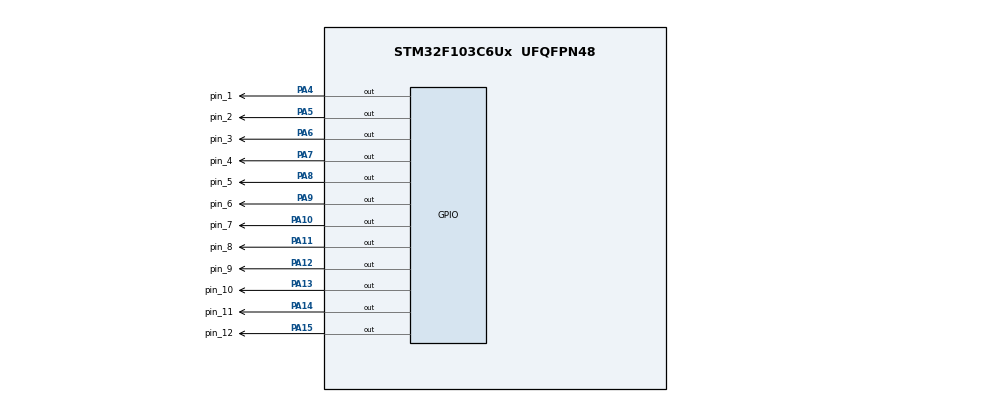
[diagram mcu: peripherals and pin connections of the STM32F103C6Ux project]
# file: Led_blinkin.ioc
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Mcu.Family=STM32F1
Mcu.Name=STM32F103C6Ux
Mcu.Package=UFQFPN48
NVIC.PriorityGroup=NVIC_PRIORITYGROUP_4
PA10.GPIO_Label=pin_7
PA10.Signal=GPIO_Output
PA11.GPIO_Label=pin_8
PA11.Signal=GPIO_Output
PA12.GPIO_Label=pin_9
PA12.Signal=GPIO_Output
PA13.GPIO_Label=pin_10
PA13.Signal=GPIO_Output
PA14.GPIO_Label=pin_11
PA14.Signal=GPIO_Output
PA15.GPIO_Label=pin_12
PA15.Signal=GPIO_Output
PA4.GPIO_Label=pin_1
PA4.Signal=GPIO_Output
PA5.GPIO_Label=pin_2
PA5.Signal=GPIO_Output
PA6.GPIO_Label=pin_3
PA6.Signal=GPIO_Output
PA7.GPIO_Label=pin_4
PA7.Signal=GPIO_Output
PA8.GPIO_Label=pin_5
PA8.Signal=GPIO_Output
PA9.GPIO_Label=pin_6
PA9.Signal=GPIO_Output
ProjectManager.HeapSize=0x200
ProjectManager.StackSize=0x400
ProjectManager.TargetToolchain=STM32CubeIDE
RCC.APB1Freq_Value=8000000
RCC.APB2Freq_Value=8000000
VP_SYS_VS_ND.Mode=No_Debug
board=custom

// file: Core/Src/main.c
/* USER CODE BEGIN Header */
/**
  ******************************************************************************
  * @file           : main.c
  * @brief          : Main program body
  ******************************************************************************
  * @attention
  *
  * <h2><center>&copy; Copyright (c) 2022 STMicroelectronics.
  * All rights reserved.</center></h2>
  *
  * This software component is licensed by ST under BSD 3-Clause license,
  * the "License"; You may not use this file except in compliance with the
  * License. You may obtain a copy of the License at:
  *                        opensource.org/licenses/BSD-3-Clause
  *
  ******************************************************************************
  */
/* USER CODE END Header */
#include "main.h"

void SystemClock_Config(void);
static void MX_GPIO_Init(void);

/* USER CODE BEGIN 0 */
void clearAllClock()
{
	HAL_GPIO_WritePin(pin_1_GPIO_Port, pin_1_Pin, GPIO_PIN_SET);
    HAL_GPIO_WritePin(pin_2_GPIO_Port, pin_2_Pin, GPIO_PIN_SET);
	HAL_GPIO_WritePin(pin_3_GPIO_Port, pin_3_Pin, GPIO_PIN_SET);
	HAL_GPIO_WritePin(pin_4_GPIO_Port, pin_4_Pin, GPIO_PIN_SET);
	HAL_GPIO_WritePin(pin_5_GPIO_Port, pin_5_Pin, GPIO_PIN_SET);
	HAL_GPIO_WritePin(pin_6_GPIO_Port, pin_6_Pin, GPIO_PIN_SET);
	HAL_GPIO_WritePin(pin_7_GPIO_Port, pin_7_Pin, GPIO_PIN_SET);
	HAL_GPIO_WritePin(pin_8_GPIO_Port, pin_8_Pin, GPIO_PIN_SET);
	HAL_GPIO_WritePin(pin_9_GPIO_Port, pin_9_Pin, GPIO_PIN_SET);
	HAL_GPIO_WritePin(pin_10_GPIO_Port, pin_10_Pin, GPIO_PIN_SET);
	HAL_GPIO_WritePin(pin_11_GPIO_Port, pin_11_Pin, GPIO_PIN_SET);
	HAL_GPIO_WritePin(pin_12_GPIO_Port, pin_12_Pin, GPIO_PIN_SET);
}
void setNumberOnClock(int numb)
{
	if(numb == 0) HAL_GPIO_WritePin(pin_1_GPIO_Port, pin_1_Pin, GPIO_PIN_RESET);
	if(numb == 1) HAL_GPIO_WritePin(pin_2_GPIO_Port, pin_2_Pin, GPIO_PIN_RESET);
	if(numb == 2) HAL_GPIO_WritePin(pin_3_GPIO_Port, pin_3_Pin, GPIO_PIN_RESET);
	if(numb == 3)	HAL_GPIO_WritePin(pin_4_GPIO_Port, pin_4_Pin, GPIO_PIN_RESET);
	if(numb == 4)	HAL_GPIO_WritePin(pin_5_GPIO_Port, pin_5_Pin, GPIO_PIN_RESET);
	if(numb == 5)	HAL_GPIO_WritePin(pin_6_GPIO_Port, pin_6_Pin, GPIO_PIN_RESET);
	if(numb == 6)	HAL_GPIO_WritePin(pin_7_GPIO_Port, pin_7_Pin, GPIO_PIN_RESET);
	if(numb == 7)	HAL_GPIO_WritePin(pin_8_GPIO_Port, pin_8_Pin, GPIO_PIN_RESET);
	if(numb == 8)	HAL_GPIO_WritePin(pin_9_GPIO_Port, pin_9_Pin, GPIO_PIN_RESET);
	if(numb == 9)	HAL_GPIO_WritePin(pin_10_GPIO_Port, pin_10_Pin, GPIO_PIN_RESET);
	if(numb == 10)	HAL_GPIO_WritePin(pin_11_GPIO_Port, pin_11_Pin, GPIO_PIN_RESET);
	if(numb == 11)	HAL_GPIO_WritePin(pin_12_GPIO_Port, pin_12_Pin, GPIO_PIN_RESET);
}
void clearNumberOnClock(int numb)
{
	if(numb == 0) HAL_GPIO_WritePin(pin_1_GPIO_Port, pin_1_Pin, GPIO_PIN_SET);
	if(numb == 1) HAL_GPIO_WritePin(pin_2_GPIO_Port, pin_2_Pin, GPIO_PIN_SET);
	if(numb == 2) HAL_GPIO_WritePin(pin_3_GPIO_Port, pin_3_Pin, GPIO_PIN_SET);
	if(numb == 3)	HAL_GPIO_WritePin(pin_4_GPIO_Port, pin_4_Pin, GPIO_PIN_SET);
	if(numb == 4)	HAL_GPIO_WritePin(pin_5_GPIO_Port, pin_5_Pin, GPIO_PIN_SET);
	if(numb == 5)	HAL_GPIO_WritePin(pin_6_GPIO_Port, pin_6_Pin, GPIO_PIN_SET);
	if(numb == 6)	HAL_GPIO_WritePin(pin_7_GPIO_Port, pin_7_Pin, GPIO_PIN_SET);
	if(numb == 7)	HAL_GPIO_WritePin(pin_8_GPIO_Port, pin_8_Pin, GPIO_PIN_SET);
	if(numb == 8)	HAL_GPIO_WritePin(pin_9_GPIO_Port, pin_9_Pin, GPIO_PIN_SET);
	if(numb == 9)	HAL_GPIO_WritePin(pin_10_GPIO_Port, pin_10_Pin, GPIO_PIN_SET);
	if(numb == 10)	HAL_GPIO_WritePin(pin_11_GPIO_Port, pin_11_Pin, GPIO_PIN_SET);
	if(numb == 11)	HAL_GPIO_WritePin(pin_12_GPIO_Port, pin_12_Pin, GPIO_PIN_SET);
}
/* USER CODE END 0 */

int main(void)
{

  /* MCU Configuration--------------------------------------------------------*/

  /* Reset of all peripherals, Initializes the Flash interface and the Systick. */
  HAL_Init();

  /* Configure the system clock */
  SystemClock_Config();

  /* Initialize all configured peripherals */
  MX_GPIO_Init();

  /* Infinite loop */
  /* USER CODE BEGIN WHILE */
  int second = 0;
  int minute = 0;
  int hour = 0;
  int prev_second = 0;
  int prev_minute =0;
  int prev_hour = 0;
  while (1)
  {

	  if(second == 0 && minute == 0 && hour == 0)
	  {
	  		  clearAllClock();
	  		  setNumberOnClock(0);
	  }
	  else
	  {
		  	  if(second == 60)
		  	  {
		  		  second = 0;
		  		  prev_minute = minute;
		  		  prev_second = 59;
		  		  minute++;
		  	  }
		  	  if(minute == 60)
		  	  {
		  		  minute = 0;
		  		  prev_hour = hour;
		  		  prev_minute = 59;
		  		  hour++;
		  	  }
		  	  if(hour == 12)
		  	  {
		  		  prev_hour = 11;
		  		  hour = 0;
		  	  }
		  	  /* change the minute and hour if need */
		  	  if(prev_second != minute && prev_second != hour*5)
		  	  {
		  		   clearNumberOnClock(prev_second/5);
		  	  }
		  	  if(prev_minute != second && prev_minute != hour*5)
		  	  {
		  		  clearNumberOnClock(prev_minute/5);
		  	  }
		  	  if(prev_hour != second/5 && prev_hour != minute/5)
		  	  {
		  		  clearNumberOnClock(prev_hour);
		  	  }
		  	  setNumberOnClock(second/5);
		  	  setNumberOnClock(minute/5);
		  	  setNumberOnClock(hour);
	  }
	  prev_second = second;
	  second++;
	  HAL_Delay(1000);

    /* USER CODE END WHILE */

  }
}

void SystemClock_Config(void)
{
  RCC_OscInitTypeDef RCC_OscInitStruct = {0};
  RCC_ClkInitTypeDef RCC_ClkInitStruct = {0};

  /** Initializes the RCC Oscillators according to the specified parameters
  * in the RCC_OscInitTypeDef structure.
  */
  RCC_OscInitStruct.OscillatorType = RCC_OSCILLATORTYPE_HSI;
  RCC_OscInitStruct.HSIState = RCC_HSI_ON;
  RCC_OscInitStruct.HSICalibrationValue = RCC_HSICALIBRATION_DEFAULT;
  RCC_OscInitStruct.PLL.PLLState = RCC_PLL_NONE;
  if (HAL_RCC_OscConfig(&RCC_OscInitStruct) != HAL_OK)
  {
    Error_Handler();
  }
  /** Initializes the CPU, AHB and APB buses clocks
  */
  RCC_ClkInitStruct.ClockType = RCC_CLOCKTYPE_HCLK|RCC_CLOCKTYPE_SYSCLK
                              |RCC_CLOCKTYPE_PCLK1|RCC_CLOCKTYPE_PCLK2;
  RCC_ClkInitStruct.SYSCLKSource = RCC_SYSCLKSOURCE_HSI;
  RCC_ClkInitStruct.AHBCLKDivider = RCC_SYSCLK_DIV1;
  RCC_ClkInitStruct.APB1CLKDivider = RCC_HCLK_DIV1;
  RCC_ClkInitStruct.APB2CLKDivider = RCC_HCLK_DIV1;

  if (HAL_RCC_ClockConfig(&RCC_ClkInitStruct, FLASH_LATENCY_0) != HAL_OK)
  {
    Error_Handler();
  }
}

static void MX_GPIO_Init(void)
{
  GPIO_InitTypeDef GPIO_InitStruct = {0};

  /* GPIO Ports Clock Enable */
  __HAL_RCC_GPIOA_CLK_ENABLE();

  /*Configure GPIO pin Output Level */
  HAL_GPIO_WritePin(GPIOA, pin_1_Pin|pin_2_Pin|pin_3_Pin|pin_4_Pin
                          |pin_5_Pin|pin_6_Pin|pin_7_Pin|pin_8_Pin
                          |pin_9_Pin|pin_10_Pin|pin_11_Pin|pin_12_Pin, GPIO_PIN_RESET);

  /*Configure GPIO pins : pin_1_Pin pin_2_Pin pin_3_Pin pin_4_Pin
                           pin_5_Pin pin_6_Pin pin_7_Pin pin_8_Pin
                           pin_9_Pin pin_10_Pin pin_11_Pin pin_12_Pin */
  GPIO_InitStruct.Pin = pin_1_Pin|pin_2_Pin|pin_3_Pin|pin_4_Pin
                          |pin_5_Pin|pin_6_Pin|pin_7_Pin|pin_8_Pin
                          |pin_9_Pin|pin_10_Pin|pin_11_Pin|pin_12_Pin;
  GPIO_InitStruct.Mode = GPIO_MODE_OUTPUT_PP;
  GPIO_InitStruct.Pull = GPIO_NOPULL;
  GPIO_InitStruct.Speed = GPIO_SPEED_FREQ_LOW;
  HAL_GPIO_Init(GPIOA, &GPIO_InitStruct);

}

void Error_Handler(void)
{
  __disable_irq();
  while (1)
  {
  }
}

/************************ (C) COPYRIGHT STMicroelectronics *****END OF FILE****/
